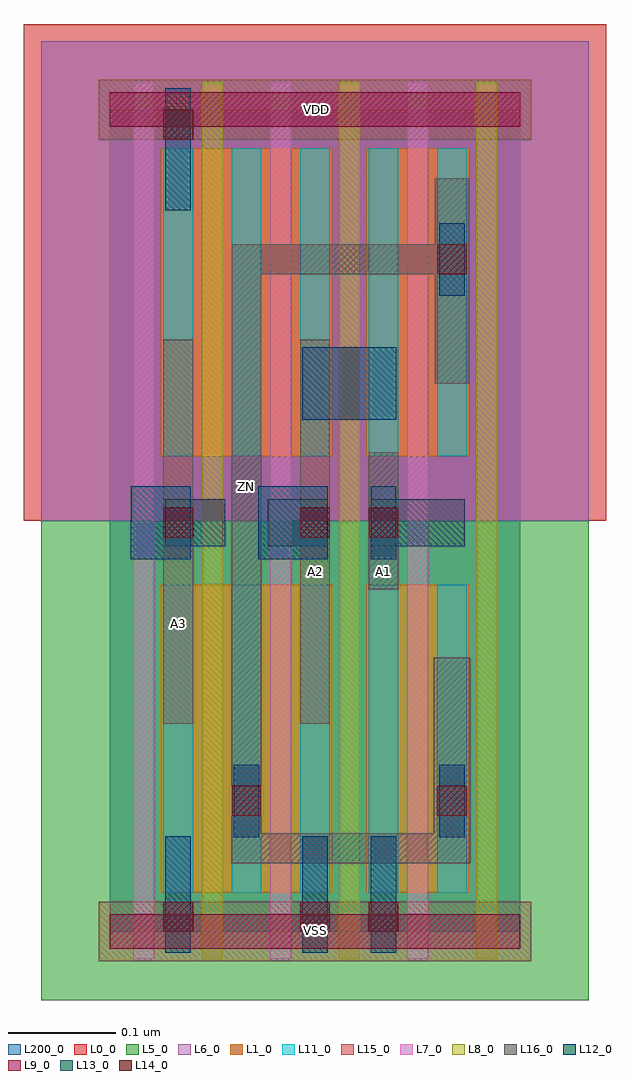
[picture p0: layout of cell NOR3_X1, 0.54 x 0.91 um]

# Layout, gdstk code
import gdstk
lib = gdstk.Library(unit=1e-6, precision=1e-09)
def R(c, l, rs):  # rectangles x0, y0, x1, y1
    for r in rs: c.add(gdstk.rectangle(r[:2], r[2:], *l))
def A(c, l, x, y, w, h, nx, ny, dx, dy):  # array of equal rectangles
    R(c, l, [(x+i*dx, y+j*dy, x+i*dx+w, y+j*dy+h) for i in range(nx) for j in range(ny)])
def P(c, l, *ps):  # polygons
    for p in ps: c.add(gdstk.Polygon(p, *l))
L0_0 = (0, 0)
L1_0 = (1, 0)
L5_0 = (5, 0)
L6_0 = (6, 0)
L7_0 = (7, 0)
L8_0 = (8, 0)
L9_0 = (9, 0)
L11_0 = (11, 0)
L12_0 = (12, 0)
L13_0 = (13, 0)
L14_0 = (14, 0)
L15_0 = (15, 0)
L16_0 = (16, 0)
L200_0 = (200, 0)

nor3_x1 = lib.new_cell('NOR3_X1')
R(nor3_x1, L0_0, [(-0.08,0.384,0.464,0.848)])
R(nor3_x1, L1_0, [(0.048,0.036,0.208,0.324), (0.24,0.036,0.336,0.324), (0.048,0.444,0.208,0.732), (0.24,0.444,0.336,0.732)])
R(nor3_x1, L5_0, [(-0.064,-0.064,0.448,0.384)])
R(nor3_x1, L6_0, [(-0.064,0.384,0.448,0.832)])
A(nor3_x1, L7_0, 0.022, -0.026, 0.02, 0.82, 3, 1, 0.128, 0)
A(nor3_x1, L8_0, 0.086, -0.026, 0.02, 0.82, 3, 1, 0.128, 0)
R(nor3_x1, L9_0, [(0,-0.016,0.384,0.016), (0,0.752,0.384,0.784)])
A(nor3_x1, L11_0, 0.05, 0.036, 0.028, 0.288, 5, 2, 0.064, 0.408)
R(nor3_x1, L12_0, [(0.052,-0.02,0.076,0.089), (0.18,-0.02,0.204,0.089), (0.244,-0.02,0.268,0.089), (0.116,0.088,0.14,0.156), (0.308,0.088,0.332,0.156), (0.02,0.348,0.076,0.416), (0.139,0.348,0.204,0.416), (0.244,0.348,0.268,0.416), (0.18,0.478,0.268,0.546), (0.308,0.594,0.332,0.662), (0.052,0.674,0.076,0.788)])
R(nor3_x1, L13_0, [(0.052,0.36,0.108,0.404), (0.148,0.36,0.204,0.404), (0.244,0.36,0.332,0.404)])
R(nor3_x1, L14_0, [(0.05,0,0.078,0.028), (0.178,0,0.206,0.028), (0.242,0,0.27,0.028), (0.114,0.108,0.142,0.136), (0.306,0.108,0.334,0.136), (0.05,0.368,0.078,0.396), (0.178,0.368,0.206,0.396), (0.242,0.368,0.27,0.396), (0.306,0.614,0.334,0.642), (0.05,0.74,0.078,0.768)])
R(nor3_x1, L15_0, [(-0.01,-0.028,0.394,0.028), (0.05,0.194,0.078,0.553), (0.178,0.194,0.206,0.553), (-0.01,0.74,0.394,0.796)])
R(nor3_x1, L16_0, [(0.242,0.32,0.27,0.448)])
P(nor3_x1, L16_0, [(0.114,0.064),(0.337,0.064),(0.337,0.256),(0.303,0.256),(0.303,0.092),(0.142,0.092),(0.142,0.614),(0.304,0.614),(0.304,0.512),(0.336,0.512),(0.336,0.704),(0.304,0.704),(0.304,0.642),(0.114,0.642)])
R(nor3_x1, L200_0, [(0,0,0.384,0.768)])
nor3_x1.add(gdstk.Label('VSS', (0.192,0.001), layer=15, texttype=20))
nor3_x1.add(gdstk.Label('A3', (0.064,0.288), layer=15, texttype=20))
nor3_x1.add(gdstk.Label('A2', (0.192,0.336), layer=15, texttype=20))
nor3_x1.add(gdstk.Label('VDD', (0.193,0.768), layer=15, texttype=20))
nor3_x1.add(gdstk.Label('A1', (0.256,0.336), layer=16, texttype=20))
nor3_x1.add(gdstk.Label('ZN', (0.128,0.416), layer=16, texttype=20))

lib.write_gds('NOR3_X1.gds')
